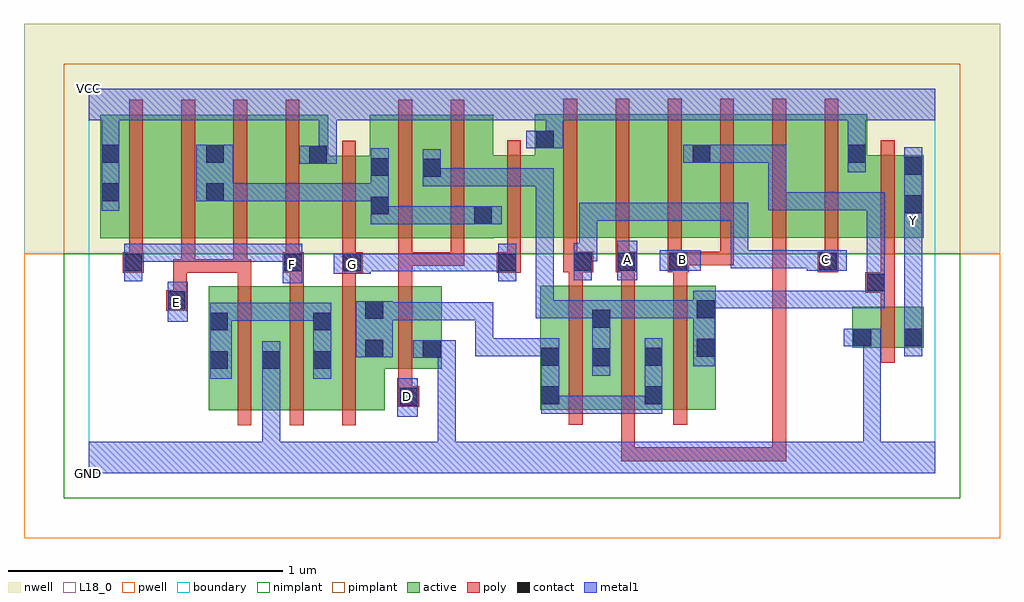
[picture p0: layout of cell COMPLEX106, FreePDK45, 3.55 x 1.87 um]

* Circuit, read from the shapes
.subckt COMPLEX106 A B C D E F G GND VCC Y
M1 GND E n1 VSUBS nfet w=0.45u l=0.05u
M2 n1 F GND VSUBS nfet w=0.45u l=0.05u
M3 n2 G n1 VSUBS nfet w=0.45u l=0.05u
M4 GND D n2 VSUBS nfet w=0.3u l=0.05u
M5 n3 C n2 VSUBS nfet w=0.45u l=0.05u
M6 n2 A n3 VSUBS nfet w=0.45u l=0.05u
M7 n3 B n2 VSUBS nfet w=0.45u l=0.05u
M8 Y n3 GND VSUBS nfet w=0.15u l=0.05u
M9 n4 F VCC n5 pfet w=0.45u l=0.05u
M10 n6 E n4 n5 pfet w=0.45u l=0.05u
M11 n7 E n6 n5 pfet w=0.45u l=0.05u
M12 VCC F n7 n5 pfet w=0.45u l=0.05u
M13 n6 G VCC n5 pfet w=0.3u l=0.05u m=2
M14 n3 D n6 n5 pfet w=0.45u l=0.05u m=2
M15 n8 C VCC n5 pfet w=0.45u l=0.05u
M16 n9 A n8 n5 pfet w=0.45u l=0.05u
M17 n3 B n9 n5 pfet w=0.45u l=0.05u
M18 n10 B n3 n5 pfet w=0.45u l=0.05u
M19 n11 A n10 n5 pfet w=0.45u l=0.05u
M20 VCC C n11 n5 pfet w=0.45u l=0.05u
M21 Y n3 VCC n5 pfet w=0.3u l=0.05u
.ends

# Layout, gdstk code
import gdstk
lib = gdstk.Library(unit=1e-6, precision=1e-09)
def R(c, l, rs):  # rectangles x0, y0, x1, y1
    for r in rs: c.add(gdstk.rectangle(r[:2], r[2:], *l))
def A(c, l, x, y, w, h, nx, ny, dx, dy):  # array of equal rectangles
    R(c, l, [(x+i*dx, y+j*dy, x+i*dx+w, y+j*dy+h) for i in range(nx) for j in range(ny)])
active = (1, 0)
pwell = (2, 0)
nwell = (3, 0)
nimplant = (4, 0)
pimplant = (5, 0)
poly = (9, 0)
contact = (10, 0)
metal1 = (11, 0)
L18_0 = (18, 0)
boundary = (235, 0)

complex106 = lib.new_cell('COMPLEX106')
R(complex106, active, [(0.437,0.23,0.702,0.68), (0.627,0.23,0.887,0.68), (0.627,0.23,0.702,0.542), (0.812,0.23,1.077,0.68), (1.002,0.23,1.077,0.68), (0.812,0.232,0.887,0.68), (1.642,0.232,1.717,0.682), (1.642,0.232,1.902,0.682), (1.827,0.232,2.092,0.682), (2.017,0.232,2.282,0.682), (2.017,0.232,2.092,0.547), (2.207,0.232,2.282,0.682), (0.437,0.257,0.512,0.68), (1.827,0.295,1.902,0.682), (1.002,0.38,1.285,0.68), (1.21,0.38,1.285,0.625), (2.777,0.457,2.852,0.607), (2.777,0.457,3.037,0.607), (2.962,0.457,3.037,0.607), (0.042,0.855,0.117,1.305), (0.042,0.855,0.267,1.305), (0.267,0.855,0.497,1.305), (0.422,0.855,0.647,1.305), (0.422,0.855,0.497,1.2), (0.647,0.855,0.872,1.305), (0.797,0.855,1.097,1.155), (1.022,0.855,1.097,1.2), (1.022,0.855,1.285,1.305), (1.21,0.855,1.472,1.305), (1.21,0.855,1.285,1.2), (1.397,0.857,1.697,1.157), (1.622,0.857,1.847,1.307), (1.847,0.857,2.037,1.307), (2.037,0.857,2.267,1.307), (2.192,0.857,2.267,1.2), (2.192,0.857,2.417,1.307), (2.417,0.857,2.607,1.307), (2.607,0.857,2.832,1.307), (2.757,0.857,3.037,1.157), (2.757,0.857,2.832,1.2), (2.962,0.857,3.037,1.157), (1.397,0.902,1.472,1.07), (1.622,0.962,1.697,1.252), (0.797,1.007,0.872,1.305)])
R(complex106, pwell, [(-0.235,-0.235,3.315,0.8)])
R(complex106, nwell, [(-0.235,0.8,3.315,1.635)])
R(complex106, nimplant, [(-0.09,-0.09,3.17,0.8)])
R(complex106, pimplant, [(-0.09,0.8,3.17,1.49)])
A(complex106, poly, 0.542, 0.175, 0.05, 0.56, 3, 1, 0.19, 0)
A(complex106, poly, 1.747, 0.177, 0.05, 0.56, 3, 1, 0.19, 0)
A(complex106, poly, 0.542, 0.685, 0.05, 0.095, 3, 1, 0.19, 0)
A(complex106, poly, 1.747, 0.687, 0.05, 0.095, 3, 1, 0.19, 0)
A(complex106, poly, 0.717, 0.755, 0.05, 0.095, 3, 1, 0.205, 0)
A(complex106, poly, 1.727, 0.757, 0.05, 0.095, 4, 1, 0.19, 0)
A(complex106, poly, 0.147, 0.8, 0.05, 0.56, 4, 1, 0.19, 0)
A(complex106, poly, 1.727, 0.802, 0.05, 0.56, 6, 1, 0.19, 0)
R(complex106, poly, [(1.937,0.045,1.987,0.095), (1.937,0.045,2.12,0.095), (1.937,0.045,1.987,0.227), (2.07,0.045,2.12,0.095), (2.07,0.045,2.12,0.095), (2.07,0.045,2.12,0.095), (2.07,0.045,2.405,0.095), (2.355,0.045,2.405,0.095), (2.355,0.045,2.405,0.095), (2.355,0.045,2.405,0.095), (2.355,0.045,2.405,0.095), (2.355,0.045,2.405,0.095), (2.355,0.045,2.537,0.095), (2.487,0.045,2.537,0.852), (2.487,0.045,2.537,0.095), (2.487,0.045,2.537,0.095), (2.487,0.045,2.537,0.095), (2.487,0.045,2.537,0.095), (2.487,0.045,2.537,0.095), (2.487,0.045,2.537,0.095), (2.487,0.045,2.537,0.095), (2.487,0.045,2.537,0.095), (2.487,0.045,2.537,0.095), (2.487,0.045,2.537,0.095), (2.487,0.045,2.537,0.095), (1.127,0.242,1.202,0.317), (1.127,0.267,1.177,0.375), (1.127,0.325,1.177,0.735), (2.882,0.402,2.932,0.662), (0.282,0.592,0.357,0.667), (2.882,0.612,2.932,0.707), (0.307,0.617,0.357,0.78), (2.825,0.657,2.932,0.732), (2.882,0.682,2.932,0.852), (1.127,0.685,1.177,0.805), (0.125,0.73,0.2,0.805), (0.307,0.73,0.387,0.78), (0.337,0.73,0.387,0.78), (0.337,0.73,0.387,0.78), (0.337,0.73,0.577,0.78), (0.337,0.73,0.387,0.85), (0.527,0.73,0.577,0.78), (0.527,0.73,0.577,0.78), (0.527,0.73,0.577,0.85), (0.527,0.73,0.592,0.78), (0.707,0.73,0.782,0.805), (0.922,0.73,0.997,0.805), (1.485,0.73,1.572,0.805), (1.727,0.732,1.835,0.807), (1.917,0.732,1.992,0.807), (2.107,0.732,2.182,0.807), (2.652,0.732,2.727,0.807), (0.147,0.755,0.197,0.85), (1.127,0.755,1.177,0.805), (1.127,0.755,1.177,0.805), (1.127,0.755,1.177,0.805), (1.127,0.755,1.367,0.805), (1.317,0.755,1.367,0.85), (1.317,0.755,1.367,0.805), (1.522,0.755,1.572,0.852), (2.132,0.757,2.347,0.807), (2.297,0.757,2.347,0.807), (2.297,0.757,2.347,0.807), (2.297,0.757,2.347,0.807), (2.677,0.757,2.727,0.852), (0.922,0.8,0.972,1.21), (1.127,0.8,1.177,1.36), (1.317,0.8,1.367,1.36), (1.522,0.802,1.572,1.212), (2.882,0.802,2.932,1.212)])
R(complex106, contact, [(1.132,0.247,1.197,0.312), (1.647,0.252,1.712,0.317), (2.022,0.252,2.087,0.317), (0.442,0.38,0.507,0.445), (0.632,0.38,0.697,0.445), (0.817,0.38,0.882,0.445), (1.832,0.39,1.897,0.455), (1.647,0.392,1.712,0.457), (2.022,0.392,2.087,0.457), (1.215,0.42,1.28,0.485), (1.007,0.422,1.072,0.487), (2.212,0.425,2.277,0.49), (2.782,0.462,2.847,0.527), (2.967,0.462,3.032,0.527), (0.442,0.52,0.507,0.585), (0.817,0.52,0.882,0.585), (1.832,0.53,1.897,0.595), (1.007,0.562,1.072,0.627), (2.212,0.565,2.277,0.63), (0.287,0.597,0.352,0.662), (2.83,0.662,2.895,0.727), (0.13,0.735,0.195,0.8), (0.712,0.735,0.777,0.8), (0.927,0.735,0.992,0.8), (1.49,0.735,1.555,0.8), (1.765,0.737,1.83,0.802), (1.922,0.737,1.987,0.802), (2.112,0.737,2.177,0.802), (2.657,0.737,2.722,0.802), (1.402,0.907,1.467,0.972), (1.027,0.942,1.092,1.007), (2.967,0.947,3.032,1.012), (0.047,0.99,0.112,1.055), (0.427,0.99,0.492,1.055), (1.215,1.08,1.28,1.145), (1.027,1.082,1.092,1.147), (2.967,1.087,3.032,1.152), (0.802,1.127,0.867,1.192), (0.047,1.13,0.112,1.195), (0.427,1.13,0.492,1.195), (2.197,1.13,2.262,1.195), (2.762,1.13,2.827,1.195), (1.627,1.182,1.692,1.247)])
R(complex106, metal1, [(0,0,3.08,0.115), (0.632,0.05,0.697,0.115), (0.632,0.05,0.697,0.115), (0.632,0.05,0.697,0.115), (0.632,0.05,0.697,0.115), (0.632,0.05,0.697,0.41), (1.27,0.05,1.335,0.115), (1.27,0.05,1.335,0.115), (1.27,0.05,1.335,0.115), (1.27,0.05,1.335,0.115), (1.27,0.05,1.335,0.115), (1.27,0.05,1.335,0.115), (1.27,0.05,1.335,0.485), (2.817,0.05,2.882,0.115), (2.817,0.05,2.882,0.115), (2.817,0.05,2.882,0.115), (2.817,0.05,2.882,0.115), (2.817,0.05,2.882,0.115), (2.817,0.05,2.882,0.115), (2.817,0.05,2.882,0.115), (2.817,0.05,2.882,0.115), (2.817,0.05,2.882,0.527), (1.122,0.207,1.197,0.347), (1.647,0.217,1.712,0.492), (1.647,0.217,1.85,0.282), (1.785,0.217,1.85,0.282), (1.785,0.217,1.85,0.282), (1.785,0.217,1.85,0.282), (1.785,0.217,1.987,0.282), (1.922,0.217,1.987,0.282), (1.922,0.217,2.087,0.282), (2.022,0.217,2.087,0.492), (0.442,0.345,0.52,0.62), (0.632,0.345,0.697,0.48), (0.817,0.345,0.882,0.62), (1.832,0.355,1.897,0.63), (2.2,0.39,2.277,0.665), (1.18,0.42,1.335,0.485), (0.972,0.422,1.107,0.627), (1.407,0.427,1.472,0.492), (1.407,0.427,1.472,0.622), (1.407,0.427,1.555,0.492), (1.49,0.427,1.555,0.492), (1.49,0.427,1.712,0.492), (2.967,0.427,3.032,0.562), (2.747,0.462,2.882,0.527), (2.967,0.497,3.032,0.912), (0.287,0.552,0.36,0.697), (0.455,0.555,0.52,0.62), (0.455,0.555,0.52,0.62), (0.455,0.555,0.68,0.62), (0.615,0.555,0.68,0.62), (0.615,0.555,0.68,0.62), (0.615,0.555,0.68,0.62), (0.615,0.555,0.882,0.62), (1.042,0.557,1.245,0.622), (1.18,0.557,1.245,0.622), (1.18,0.557,1.245,0.622), (1.18,0.557,1.245,0.622), (1.18,0.557,1.417,0.622), (1.352,0.557,1.417,0.622), (1.352,0.557,1.472,0.622), (1.407,0.557,1.472,0.622), (1.627,0.565,1.692,0.63), (1.627,0.565,1.692,0.63), (1.627,0.565,1.692,0.63), (1.627,0.565,1.897,0.63), (1.627,0.565,1.692,0.76), (1.832,0.565,1.995,0.63), (1.93,0.565,1.995,0.63), (1.93,0.565,2.035,0.63), (1.97,0.565,2.035,0.63), (1.97,0.565,2.265,0.63), (2.2,0.565,2.265,0.63), (2.2,0.565,2.265,0.63), (2.212,0.6,2.402,0.665), (2.337,0.6,2.402,0.665), (2.337,0.6,2.537,0.665), (2.472,0.6,2.537,0.665), (2.472,0.6,2.54,0.665), (2.475,0.6,2.54,0.665), (2.475,0.6,2.675,0.665), (2.61,0.6,2.675,0.665), (2.61,0.6,2.745,0.665), (2.68,0.6,2.745,0.665), (2.68,0.6,2.895,0.665), (2.83,0.6,2.895,0.665), (2.83,0.6,2.895,0.692), (2.83,0.627,2.895,0.692), (2.83,0.627,2.895,0.692), (2.83,0.627,2.895,0.762), (2.83,0.627,2.895,1.022), (0.707,0.692,0.777,0.835), (1.627,0.695,1.692,0.76), (1.627,0.695,1.692,0.76), (1.627,0.695,1.692,0.76), (1.627,0.695,1.692,1.11), (0.13,0.7,0.195,0.835), (1.49,0.7,1.555,0.835), (1.765,0.702,1.83,0.837), (1.922,0.702,1.995,0.847), (0.892,0.727,1.027,0.8), (0.962,0.735,1.027,0.8), (0.962,0.735,1.027,0.8), (0.962,0.735,1.245,0.8), (1.18,0.735,1.245,0.8), (1.18,0.735,1.245,0.8), (1.18,0.735,1.245,0.8), (1.18,0.735,1.417,0.8), (1.352,0.735,1.417,0.8), (1.352,0.735,1.505,0.8), (1.44,0.735,1.505,0.8), (1.44,0.735,1.555,0.8), (2.077,0.737,2.227,0.812), (2.612,0.737,2.757,0.812), (2.335,0.747,2.4,0.812), (2.335,0.747,2.402,0.812), (2.335,0.747,2.4,0.985), (2.337,0.747,2.402,0.812), (2.337,0.747,2.537,0.812), (2.472,0.747,2.537,0.812), (2.472,0.747,2.54,0.812), (2.475,0.747,2.54,0.812), (2.475,0.747,2.675,0.812), (2.61,0.747,2.675,0.812), (2.61,0.747,2.677,0.812), (0.13,0.77,0.195,0.835), (0.13,0.77,0.195,0.835), (0.13,0.77,0.382,0.835), (0.317,0.77,0.382,0.835), (0.317,0.77,0.382,0.835), (0.317,0.77,0.382,0.835), (0.317,0.77,0.542,0.835), (0.477,0.77,0.542,0.835), (0.477,0.77,0.665,0.835), (0.6,0.77,0.665,0.835), (0.6,0.77,0.772,0.835), (1.765,0.772,1.85,0.837), (1.785,0.772,1.85,0.837), (1.785,0.772,1.85,0.985), (2.967,0.847,3.032,0.987), (1.027,0.907,1.092,1.182), (1.027,0.907,1.245,0.972), (1.18,0.907,1.245,0.972), (1.18,0.907,1.245,0.972), (1.18,0.907,1.245,0.972), (1.18,0.907,1.382,0.972), (1.317,0.907,1.382,0.972), (1.317,0.907,1.432,0.972), (1.367,0.907,1.502,0.972), (2.967,0.912,3.032,0.977), (2.967,0.912,3.032,1.187), (1.785,0.92,1.85,0.985), (1.785,0.92,1.995,0.985), (1.93,0.92,1.995,0.985), (1.93,0.92,2.035,0.985), (1.97,0.92,2.035,0.985), (1.97,0.92,2.265,0.985), (2.2,0.92,2.265,0.985), (2.2,0.92,2.4,0.985), (2.335,0.92,2.4,0.985), (0.047,0.955,0.112,1.23), (2.472,0.957,2.537,1.022), (2.472,0.957,2.54,1.022), (2.472,0.957,2.537,1.195), (2.475,0.957,2.54,1.022), (2.475,0.957,2.675,1.022), (2.61,0.957,2.675,1.022), (2.61,0.957,2.69,1.022), (2.625,0.957,2.69,1.022), (2.625,0.957,2.895,1.022), (2.83,0.957,2.895,1.022), (0.392,0.99,0.527,1.195), (0.462,0.99,0.527,1.055), (0.462,0.99,0.527,1.055), (0.462,0.99,0.68,1.055), (0.615,0.99,0.68,1.055), (0.615,0.99,0.68,1.055), (0.615,0.99,0.68,1.055), (0.615,0.99,0.89,1.055), (0.825,0.99,0.89,1.055), (0.825,0.99,0.89,1.055), (0.825,0.99,0.89,1.055), (0.825,0.99,1.092,1.055), (1.215,1.045,1.28,1.18), (1.215,1.045,1.417,1.11), (1.352,1.045,1.417,1.11), (1.352,1.045,1.505,1.11), (1.44,1.045,1.505,1.11), (1.44,1.045,1.555,1.11), (1.49,1.045,1.555,1.11), (1.49,1.045,1.692,1.11), (1.627,1.045,1.692,1.11), (2.762,1.095,2.827,1.23), (0.767,1.127,0.902,1.192), (0.837,1.127,0.902,1.35), (2.162,1.13,2.297,1.195), (2.232,1.13,2.402,1.195), (2.337,1.13,2.402,1.195), (2.337,1.13,2.537,1.195), (2.472,1.13,2.537,1.195), (0.047,1.165,0.112,1.35), (2.762,1.165,2.827,1.35), (1.592,1.182,1.727,1.247), (1.662,1.182,1.727,1.35), (0,1.285,3.08,1.4)])
R(complex106, L18_0, [(0,0,3.08,0.115), (0.632,0.05,0.697,0.115), (0.632,0.05,0.697,0.115), (0.632,0.05,0.697,0.115), (0.632,0.05,0.697,0.115), (0.632,0.05,0.697,0.41), (1.27,0.05,1.335,0.115), (1.27,0.05,1.335,0.115), (1.27,0.05,1.335,0.115), (1.27,0.05,1.335,0.115), (1.27,0.05,1.335,0.115), (1.27,0.05,1.335,0.115), (1.27,0.05,1.335,0.485), (2.817,0.05,2.882,0.115), (2.817,0.05,2.882,0.115), (2.817,0.05,2.882,0.115), (2.817,0.05,2.882,0.115), (2.817,0.05,2.882,0.115), (2.817,0.05,2.882,0.115), (2.817,0.05,2.882,0.115), (2.817,0.05,2.882,0.115), (2.817,0.05,2.882,0.527), (1.122,0.207,1.197,0.347), (1.127,0.247,1.192,0.312), (0.632,0.345,0.697,0.48), (1.18,0.42,1.335,0.485), (2.967,0.427,3.032,0.562), (2.747,0.462,2.882,0.527), (2.967,0.497,3.032,0.912), (0.287,0.552,0.36,0.697), (0.287,0.587,0.352,0.652), (0.707,0.692,0.777,0.835), (0.13,0.7,0.195,0.835), (1.49,0.7,1.555,0.835), (1.765,0.702,1.83,0.837), (1.922,0.702,1.995,0.847), (0.707,0.727,0.772,0.792), (0.892,0.727,1.027,0.8), (0.927,0.727,0.992,0.792), (0.962,0.735,1.027,0.8), (0.962,0.735,1.027,0.8), (0.962,0.735,1.245,0.8), (1.18,0.735,1.245,0.8), (1.18,0.735,1.245,0.8), (1.18,0.735,1.245,0.8), (1.18,0.735,1.417,0.8), (1.352,0.735,1.417,0.8), (1.352,0.735,1.505,0.8), (1.44,0.735,1.505,0.8), (1.44,0.735,1.555,0.8), (2.077,0.737,2.227,0.812), (2.612,0.737,2.757,0.812), (1.927,0.747,1.992,0.812), (2.127,0.747,2.192,0.812), (2.335,0.747,2.4,0.812), (2.335,0.747,2.4,0.985), (2.335,0.747,2.402,0.812), (2.337,0.747,2.402,0.812), (2.337,0.747,2.537,0.812), (2.472,0.747,2.537,0.812), (2.472,0.747,2.54,0.812), (2.475,0.747,2.54,0.812), (2.475,0.747,2.675,0.812), (2.61,0.747,2.675,0.812), (2.61,0.747,2.677,0.812), (2.647,0.747,2.712,0.812), (0.13,0.77,0.195,0.835), (0.13,0.77,0.195,0.835), (0.13,0.77,0.382,0.835), (0.317,0.77,0.382,0.835), (0.317,0.77,0.382,0.835), (0.317,0.77,0.382,0.835), (0.317,0.77,0.542,0.835), (0.477,0.77,0.542,0.835), (0.477,0.77,0.665,0.835), (0.6,0.77,0.665,0.835), (0.6,0.77,0.772,0.835), (1.765,0.772,1.85,0.837), (1.785,0.772,1.85,0.837), (1.785,0.772,1.85,0.985), (2.967,0.847,3.032,0.987), (2.967,0.887,3.032,0.952), (2.967,0.912,3.032,1.187), (2.967,0.912,3.032,0.977), (1.785,0.92,1.85,0.985), (1.785,0.92,1.995,0.985), (1.93,0.92,1.995,0.985), (1.93,0.92,2.035,0.985), (1.97,0.92,2.035,0.985), (1.97,0.92,2.265,0.985), (2.2,0.92,2.265,0.985), (2.2,0.92,2.4,0.985), (2.335,0.92,2.4,0.985), (0.047,0.955,0.112,1.23), (2.762,1.095,2.827,1.23), (0.767,1.127,0.902,1.192), (0.837,1.127,0.902,1.35), (0.047,1.165,0.112,1.35), (2.762,1.165,2.827,1.35), (1.592,1.182,1.727,1.247), (1.662,1.182,1.727,1.35), (0,1.285,3.08,1.4)])
R(complex106, boundary, [(0,0,3.08,1.4)])
complex106.add(gdstk.Label('A', (1.96,0.78), layer=11, texttype=0))
complex106.add(gdstk.Label('B', (2.16,0.78), layer=11, texttype=0))
complex106.add(gdstk.Label('C', (2.68,0.78), layer=11, texttype=0))
complex106.add(gdstk.Label('D', (1.16,0.28), layer=11, texttype=0))
complex106.add(gdstk.Label('E', (0.32,0.62), layer=11, texttype=0))
complex106.add(gdstk.Label('F', (0.74,0.76), layer=11, texttype=0))
complex106.add(gdstk.Label('G', (0.96,0.76), layer=11, texttype=0))
complex106.add(gdstk.Label('Y', (3,0.92), layer=11, texttype=0))
complex106.add(gdstk.Label('VCC', (0,1.4), layer=11, texttype=0))
complex106.add(gdstk.Label('GND', (0,0), layer=11, texttype=0))

lib.write_gds('COMPLEX106.gds')
